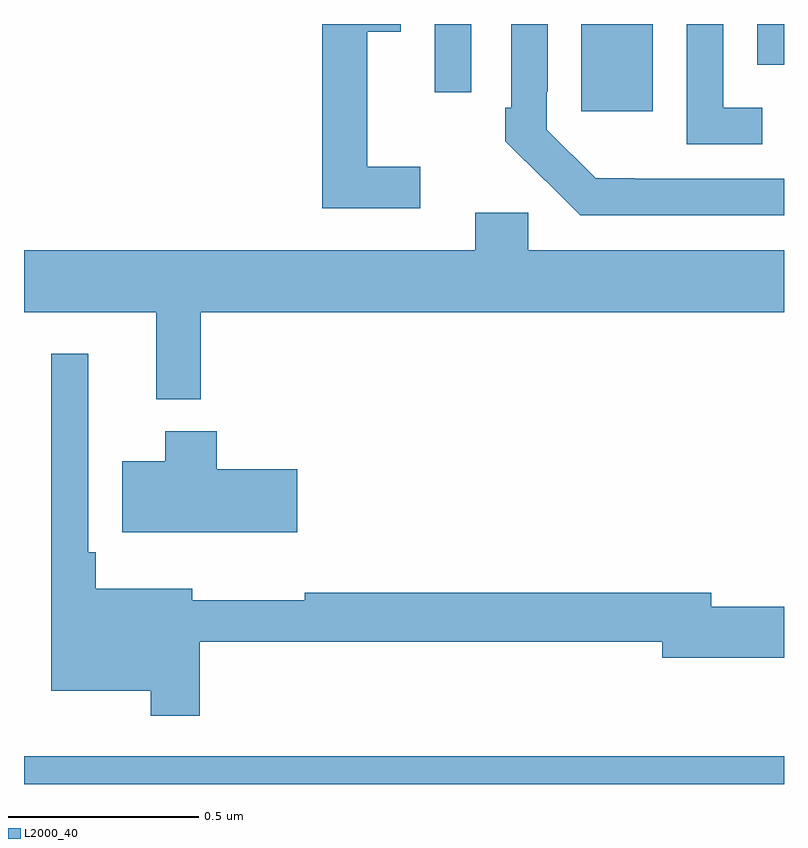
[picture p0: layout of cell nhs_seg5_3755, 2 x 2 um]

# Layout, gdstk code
import gdstk
lib = gdstk.Library(unit=1e-6, precision=1e-09)
def R(c, l, rs):  # rectangles x0, y0, x1, y1
    for r in rs: c.add(gdstk.rectangle(r[:2], r[2:], *l))
def P(c, l, *ps):  # polygons
    for p in ps: c.add(gdstk.Polygon(p, *l))
L2000_40 = (2000, 40)

nhs_seg5_3755 = lib.new_cell('nhs_seg5_3755')
R(nhs_seg5_3755, L2000_40, [(161,908.799,163,908.872), (162.467,910.569,162.655,910.799), (162.081,910.62,162.177,910.799), (162.93,910.692,163,910.799)])
P(nhs_seg5_3755, L2000_40, [(163,910.392),(162.607,910.392),(162.607,910.393),(162.504,910.393),(162.375,910.521),(162.375,910.621),(162.378,910.621),(162.378,910.799),(162.282,910.799),(162.282,910.579),(162.267,910.579),(162.267,910.491),(162.372,910.386),(162.373,910.387),(162.464,910.296),(163,910.296)],
  [(162.043,910.423),(161.903,910.423),(161.903,910.778),(161.992,910.778),(161.992,910.799),(161.785,910.799),(161.785,910.314),(162.043,910.314)],
  [(162.943,910.578),(162.84,910.578),(162.84,910.799),(162.744,910.799),(162.744,910.482),(162.943,910.482)],
  [(161.465,910.04),(163,910.04),(163,910.204),(162.327,910.204),(162.327,910.302),(162.188,910.302),(162.188,910.204),(161,910.204),(161,910.04),(161.348,910.04),(161.348,909.812),(161.465,909.812)],
  [(161.462,909.174),(162.68,909.174),(162.68,909.131),(163,909.131),(163,909.266),(162.808,909.266),(162.808,909.302),(161.739,909.302),(161.739,909.283),(161.443,909.283),(161.443,909.313),(161.189,909.313),(161.189,909.409),(161.169,909.409),(161.169,909.931),(161.072,909.931),(161.072,909.044),(161.334,909.044),(161.334,908.979),(161.462,908.979)],
  [(161.719,909.627),(161.507,909.627),(161.507,909.727),(161.372,909.727),(161.372,909.649),(161.258,909.649),(161.258,909.461),(161.719,909.461)])

lib.write_gds('nhs_seg5_3755.gds')
